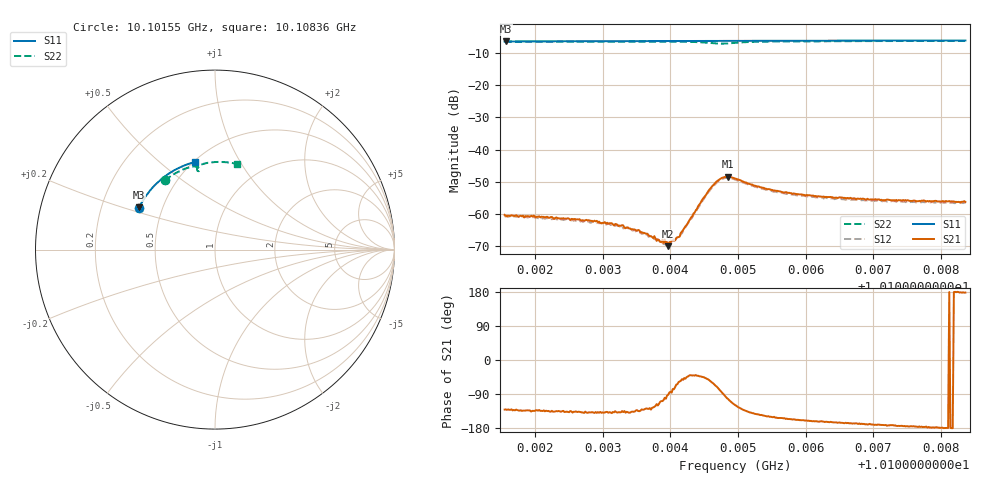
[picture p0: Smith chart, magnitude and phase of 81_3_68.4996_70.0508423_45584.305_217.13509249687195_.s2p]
#  HZ  S  RI  R  50.00
! Rohde & Schwarz Vector Network Analyzer
! Rohde-Schwarz,ZNB20-2Port,1311601062101988,3.16
! Created: UTC 3/20/2024, 5:07:19 PM
! freq[Hz]  re:S11  im:S11  re:S21  im:S21  re:S12  im:S12  re:S22  im:S22
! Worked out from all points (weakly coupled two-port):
!   401 points, 10.10155 GHz to 10.10836 GHz, reference 50 ohm
!   highest |S21| = -48.51 dB at 10.10485 GHz (marker M1); lowest = -70.1 dB at 10.10397 GHz (marker M2)
!   lowest |S11| = -6.3 dB at 10.10157 GHz (marker M3), VSWR 2.87, Z = 18.4 + j11.3 ohm
!   |S11| at or under -10 dB: nowhere
!   |S22| runs from -7.0 to -6.1 dB; largest |S21 - S12| = 0.0004
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1.010155e10  -0.4233 0.2336  -0.000626 -0.000724  -0.00053 -0.000707  -0.2791 0.3853
1.0101567e10  -0.4228 0.2346  -0.000602 -0.000711  -0.000555 -0.000739  -0.2783 0.386
1.0101958e10  -0.4118 0.2557  -0.000631 -0.00065  -0.00055 -0.000681  -0.2579 0.4013
1.0102691e10  -0.3885 0.2937  -0.000585 -0.000521  -0.000556 -0.000548  -0.2175 0.4269
1.010327e10  -0.3678 0.3221  -0.000477 -0.000433  -0.000453 -0.000469  -0.1828 0.4443
1.0103627e10  -0.3539 0.3387  -0.00031 -0.000383  -0.00028 -0.000406  -0.1598 0.4534
1.0103831e10  -0.3455 0.348  -0.000166 -0.000346  -0.000136 -0.000365  -0.1459 0.4579
1.0103899e10  -0.3427 0.3511  -9.39e-05 -0.000338  -3.69e-05 -0.000333  -0.141 0.4591
1.0103968e10  -0.3398 0.3541  -8.59e-06 -0.000311  2.24e-05 -0.000338  -0.1361 0.4604
1.0104036e10  -0.3371 0.3571  8.95e-05 -0.000371  0.000122 -0.000331  -0.1309 0.4615
1.0104104e10  -0.3341 0.3599  0.000189 -0.000386  0.000237 -0.000363  -0.1257 0.4624
1.0104155e10  -0.3319 0.3622  0.00029 -0.000412  0.000302 -0.000381  -0.1217 0.4628
1.0104478e10  -0.3177 0.3757  0.00119 -0.0012  0.00123 -0.00102  -0.0931 0.4581
1.0104649e10  -0.31 0.3825  0.00125 -0.00262  0.00143 -0.00238  -0.0849 0.4442
1.0104751e10  -0.3053 0.3864  0.000412 -0.00353  0.000683 -0.00335  -0.0903 0.4372
1.0104853e10  -0.3008 0.3903  -0.00084 -0.00366  -0.000503 -0.00354  -0.0983 0.4401
1.0104955e10  -0.2961 0.3944  -0.00169 -0.00309  -0.00136 -0.00312  -0.1003 0.4492
1.0105262e10  -0.2817 0.4061  -0.00214 -0.00165  -0.00191 -0.00177  -0.083 0.47
1.01055e10  -0.2698 0.4146  -0.00204 -0.00116  -0.00187 -0.00126  -0.0655 0.4774
1.0106096e10  -0.2397 0.4345  -0.00181 -0.000603  -0.00166 -0.000743  -0.0241 0.4858
1.0107237e10  -0.1784 0.4657  -0.00162 -0.00021  -0.0015 -0.000364  0.0512 0.4876
1.0108361e10  -0.1139 0.4876  -0.00152 5.46e-05  -0.00147 -7.31e-05  0.1228 0.4773
